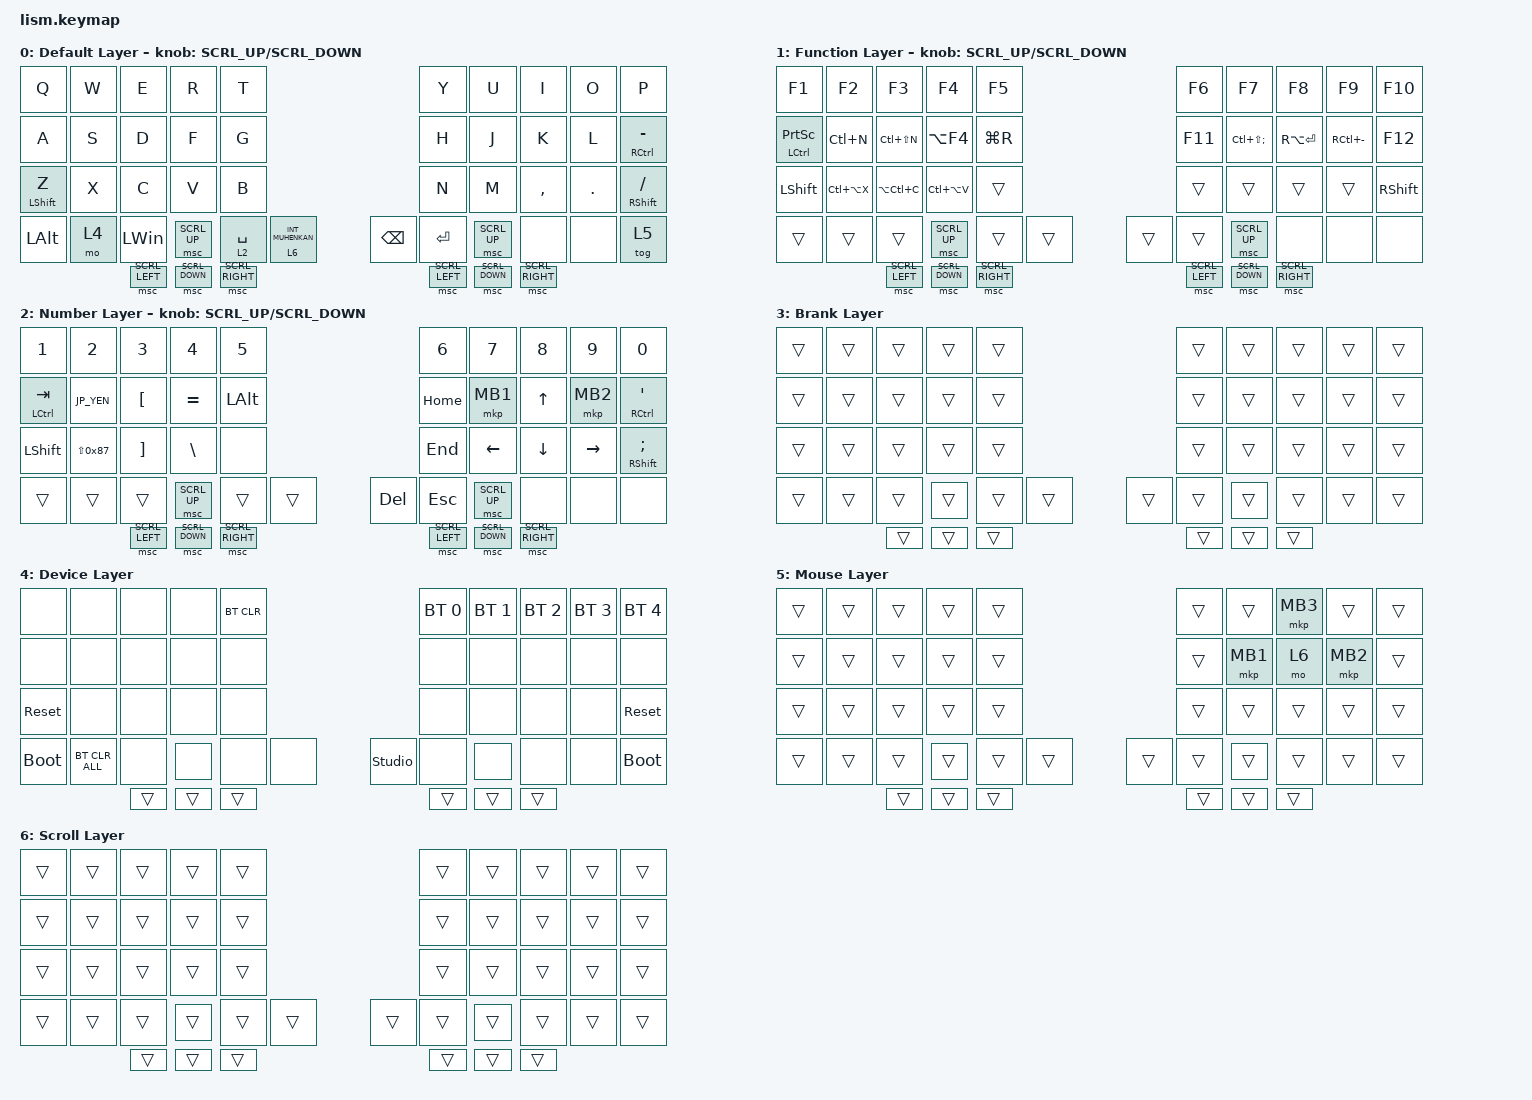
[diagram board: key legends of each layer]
#define ZMK_POINTING_DEFAULT_SCRL_VAL 100

#include <behaviors.dtsi>
#include <dt-bindings/zmk/bt.h>
#include <dt-bindings/zmk/keys.h>
#include <dt-bindings/zmk/pointing.h>
#include <dt-bindings/zmk/mouse.h>

// OS設定を日本語キーボードのまま使用するための変換定義
#define JP_DQUOTE       AT                // "
#define JP_AMPERSAND    CARET             // &
#define JP_QUOTE        AMPERSAND         // '
#define JP_EQUAL        UNDER             // =
#define JP_CARET        EQUAL             // ^
#define JP_YEN          0x89              // ¥
#define JP_PLUS         COLON             // +
#define JP_TILDE        PLUS              // ~
#define JP_PIPE         LS(0x89)          // |
#define JP_AT           LEFT_BRACKET      // @
#define JP_COLON        SINGLE_QUOTE      // :
#define JP_ASTERISK     DOUBLE_QUOTES     // *
#define JP_BACKQUOTE    LEFT_BRACE        // `
#define JP_UNDERSCORE   LS(0x87)          // _
#define JP_LBRACKET     RIGHT_BRACKET     // [
#define JP_RBRACKET     BACKSLASH         // ]
#define JP_LPAREN       ASTERISK          // (
#define JP_RPAREN       LEFT_PARENTHESIS  // )
#define JP_LBRACE       RIGHT_BRACE       // {
#define JP_RBRACE       PIPE              // }
#define JP_KANA         LANGUAGE_1        // かな
#define JP_EISU         LANGUAGE_2        // 英数
#define JP_HANZEN       GRAVE             // 半角/全角

&mt {
    tapping-term-ms = <300>;
    flavor = "balanced";
};

&lt {
    quick-tap-ms = <300>;
};

&zip_temp_layer {
    require-prior-idle-ms = <200>;
    excluded-positions = <7 16 17 18>;
};

/ {
    combos {
        compatible = "zmk,combos";

        combo_hanzen {
            timeout-ms = <50>;
            key-positions = <34 37>;
            bindings = <&lt 1 JP_HANZEN>;
        };
    };

    macros {
        emoji: emoji_macro {
            compatible = "zmk,behavior-macro";
            label = "EMOJI";
            #binding-cells = <0>;
            bindings = 
                <&macro_press &kp CAPSLOCK>,
                <&macro_tap &kp E>,
                <&macro_release &kp CAPSLOCK>;
        };
    };

    behaviors {
        encoder_msc: sensor_rotate_msc {
            compatible = "zmk,behavior-sensor-rotate-var";
            #sensor-binding-cells = <2>;
            bindings = <&msc>, <&msc>;
            tap-ms = <20>;
        };

        encoder_kp: sensor_rotate_kp {
            compatible = "zmk,behavior-sensor-rotate-var";
            #sensor-binding-cells = <2>;
            bindings = <&kp>, <&kp>;
        };
    };





    keymap {
        compatible = "zmk,keymap";

        default_layer {
            display-name = "Default Layer";
            bindings = <
                &kp Q             &kp W            &kp E             &kp R          &kp T                                        &kp Y            &kp U           &kp I          &kp O           &kp P
                &kp A             &kp S            &kp D             &kp F          &kp G                                        &kp H            &kp J           &kp K          &kp L           &mt RCTRL MINUS
                &mt LEFT_SHIFT Z  &kp X            &kp C             &kp V          &kp B                                        &kp N            &kp M           &kp COMMA      &kp DOT         &mt RIGHT_SHIFT SLASH
                &kp LEFT_ALT      &mo 4            &kp LEFT_WIN      &msc SCRL_UP   &lt 2 SPACE   &lt 6 INT_MUHENKAN             &kp BACKSPACE    &kp ENTER       &msc SCRL_UP   &none           &none                   &tog 5
                                                   &msc SCRL_LEFT     &msc SCRL_DOWN  &msc SCRL_RIGHT                              &msc SCRL_LEFT   &msc SCRL_DOWN  &msc SCRL_RIGHT
            >;
            sensor-bindings = <&encoder_msc SCRL_UP SCRL_DOWN>;
        };

        layer_1 {
            display-name = "Function Layer";
            bindings = <
                &kp F1                 &kp F2          &kp F3          &kp F4        &kp F5                             &kp F6    &kp F7                 &kp F8        &kp F9        &kp F10
                &mt LCTRL PRINTSCREEN  &kp LC(N)       &kp LC(LS(N))   &kp LA(F4)    &kp LG(R)                          &kp F11   &kp LC(LS(SEMICOLON))  &kp RA(ENTER)  &kp RC(MINUS)  &kp F12
                &kp LEFT_SHIFT         &kp LC(LA(X))   &kp LA(LC(C))   &kp LC(LA(V)) &trans                             &trans    &trans                 &trans         &trans         &kp RIGHT_SHIFT
                &trans                 &trans          &trans          &msc SCRL_UP  &trans            &trans           &trans    &trans                 &msc SCRL_UP   &none          &none              &none
                                                       &msc SCRL_LEFT  &msc SCRL_DOWN &msc SCRL_RIGHT                   &msc SCRL_LEFT &msc SCRL_DOWN  &msc SCRL_RIGHT
            >;
            sensor-bindings = <&encoder_msc SCRL_UP SCRL_DOWN>;
        };

        layer_2 {
            display-name = "Number Layer";
            bindings = <
                &kp NUMBER_1    &kp NUMBER_2       &kp NUMBER_3      &kp NUMBER_4    &kp N5                                      &kp NUMBER_6    &kp N7          &kp N8          &kp N9           &kp N0
                &mt LCTRL TAB   &kp JP_YEN         &kp JP_AT         &kp JP_CARET    &kp LEFT_ALT                                &kp HOME        &mkp MB1        &kp UP_ARROW    &mkp MB2         &mt RCTRL JP_COLON
                &kp LEFT_SHIFT  &kp JP_UNDERSCORE  &kp JP_LBRACKET   &kp JP_RBRACKET &none                                       &kp END         &kp LEFT_ARROW  &kp DOWN_ARROW  &kp RIGHT_ARROW &mt RIGHT_SHIFT SEMICOLON
                &trans          &trans             &trans            &msc SCRL_UP    &trans                &trans               &kp DELETE      &kp ESCAPE      &msc SCRL_UP    &none             &none                    &none
                                                   &msc SCRL_LEFT     &msc SCRL_DOWN  &msc SCRL_RIGHT                              &msc SCRL_LEFT  &msc SCRL_DOWN  &msc SCRL_RIGHT
            >;
            sensor-bindings = <&encoder_msc SCRL_UP SCRL_DOWN>;
        };

        layer_3 {
            display-name = "Brank Layer";
            bindings = <
                &trans  &trans  &trans  &trans  &trans                     &trans  &trans  &trans  &trans  &trans
                &trans  &trans  &trans  &trans  &trans                     &trans  &trans  &trans  &trans  &trans
                &trans  &trans  &trans  &trans  &trans                     &trans  &trans  &trans  &trans  &trans
                &trans  &trans  &trans  &trans  &trans  &trans             &trans  &trans  &trans  &trans  &trans  &trans
                                &trans  &trans  &trans                     &trans  &trans  &trans
            >;
        };

        layer_4 {
            display-name = "Device Layer";
            bindings = <
                &none        &none           &none  &none  &bt BT_CLR                       &bt BT_SEL 0   &bt BT_SEL 1  &bt BT_SEL 2  &bt BT_SEL 3  &bt BT_SEL 4
                &none        &none           &none  &none  &none                            &none          &none         &none         &none         &none
                &sys_reset   &none           &none  &none  &none                            &none          &none         &none         &none         &sys_reset
                &bootloader  &bt BT_CLR_ALL  &none  &none  &none  &none                    &studio_unlock &none         &none         &none         &none         &bootloader
                                             &trans &trans &trans                           &trans         &trans        &trans
            >;
        };

        layer_5 {
            display-name = "Mouse Layer";
            bindings = <
                &trans  &trans  &trans  &trans  &trans                     &trans  &trans    &mkp MB3  &trans    &trans
                &trans  &trans  &trans  &trans  &trans                     &trans  &mkp MB1  &mo 6     &mkp MB2  &trans
                &trans  &trans  &trans  &trans  &trans                     &trans  &trans    &trans    &trans    &trans
                &trans  &trans  &trans  &trans  &trans  &trans             &trans  &trans    &trans    &trans    &trans  &trans
                                &trans  &trans  &trans                     &trans  &trans    &trans
            >;
        };

        layer_6 {
            display-name = "Scroll Layer";
            bindings = <
                &trans  &trans  &trans  &trans  &trans                     &trans  &trans  &trans  &trans  &trans
                &trans  &trans  &trans  &trans  &trans                     &trans  &trans  &trans  &trans  &trans
                &trans  &trans  &trans  &trans  &trans                     &trans  &trans  &trans  &trans  &trans
                &trans  &trans  &trans  &trans  &trans  &trans             &trans  &trans  &trans  &trans  &trans  &trans
                                &trans  &trans  &trans                     &trans  &trans  &trans
            >;
        };

        layer_7 {
            status = "reserved";
            display-name = "Brank Layer";
            bindings = <
                &trans  &trans  &trans  &trans  &trans                     &trans  &trans  &trans  &trans  &trans
                &trans  &trans  &trans  &trans  &trans                     &trans  &trans  &trans  &trans  &trans
                &trans  &trans  &trans  &trans  &trans                     &trans  &trans  &trans  &trans  &trans
                &trans  &trans  &trans  &trans  &trans  &trans             &trans  &trans  &trans  &trans  &trans  &trans
                                &trans  &trans  &trans                     &trans  &trans  &trans
            >;
        };
    };
};
